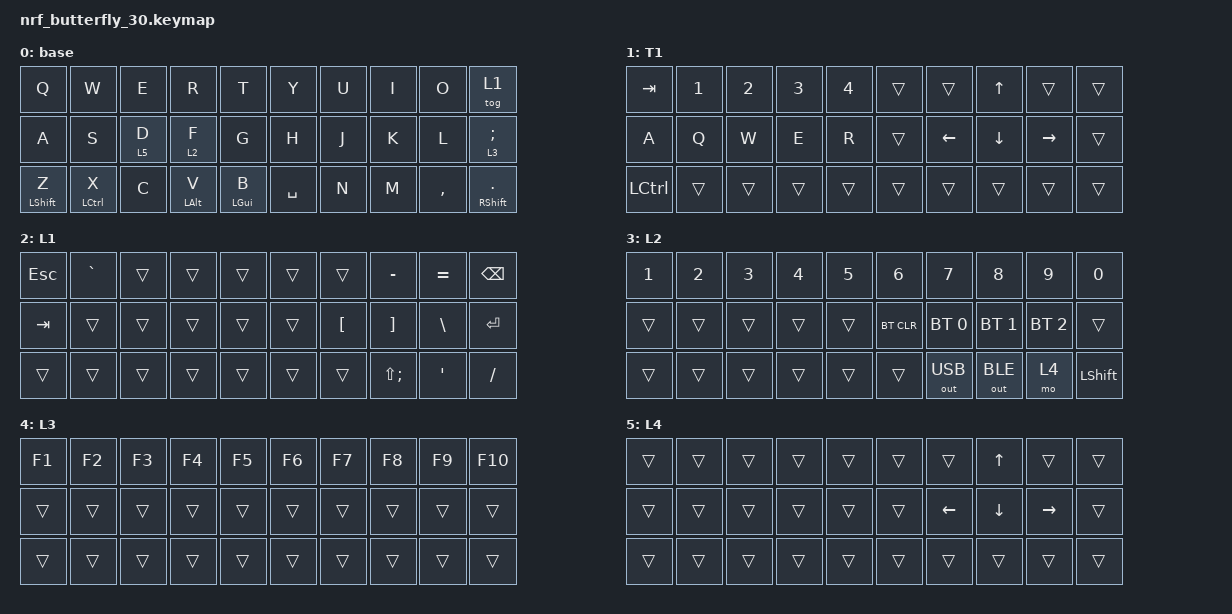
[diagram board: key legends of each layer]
// GENERATED FILE -- edit layout.txt and run generate-keymap.py instead.
#include <behaviors.dtsi>
#include <dt-bindings/zmk/keys.h>
#include <dt-bindings/zmk/bt.h>
#include <dt-bindings/zmk/outputs.h>

/ {
    behaviors {
        // Tap = base key, hold = momentary-activate a layer. "tap-preferred"
        // flavor: an interrupting key press only resolves to the layer if
        // the hold-tap key is still held past the tapping term; fast rolls
        // (e.g. "to", "ti") resolve as taps instead of misfiring into the
        // layer. Drives every "<base>L<n>" combo token.
        hold_layer: hold_layer {
            compatible = "zmk,behavior-hold-tap";
            #binding-cells = <2>;
            flavor = "tap-preferred";
            tapping-term-ms = <300>;
            bindings = <&mo>, <&kp>;
            display-name = "Hold Layer";
        };

        // Tap = base key, hold = toggle a layer on/off. Same tap-preferred
        // timing as hold_layer. Drives every "<base>T<n>" combo token.
        hold_toggle: hold_toggle {
            compatible = "zmk,behavior-hold-tap";
            #binding-cells = <2>;
            flavor = "tap-preferred";
            tapping-term-ms = <300>;
            bindings = <&tog>, <&kp>;
            display-name = "Hold Toggle Layer";
        };

        // Tap = base key, hold = a different key (used for modifiers, e.g.
        // Z taps 'z' but held acts as left shift). Drives every "<base>K<n>"
        // combo token, where K<n> is defined by a "K<n> = <token>" alias
        // line in layout.txt.
        //
        // "balanced" + hold-trigger-on-release: if another key is pressed
        // AND released while this key is still held, that resolves to hold
        // as soon as the other key releases -- no waiting out the tapping
        // term -- so holding B and tapping C for Cmd+C feels like a real
        // chord instead of a laggy timeout. require-prior-idle-ms keeps
        // ordinary fast typing safe: if this key is pressed within 150ms of
        // any other keypress, it resolves as a tap immediately, no hold
        // ever considered. retro-tap is deliberately NOT set: holding a
        // modifier alone and releasing it with nothing else pressed must
        // keep producing no output, same as holding a real shift key.
        hold_mod: hold_mod {
            compatible = "zmk,behavior-hold-tap";
            #binding-cells = <2>;
            flavor = "balanced";
            tapping-term-ms = <200>;
            require-prior-idle-ms = <150>;
            hold-trigger-on-release;
            bindings = <&kp>, <&kp>;
            display-name = "Hold Mod";
        };
    };

    keymap {
        compatible = "zmk,keymap";

        base {
            bindings = <
&kp Q &kp W &kp E &kp R &kp T &kp Y &kp U &kp I &kp O &tog 1
&kp A &kp S &hold_layer 5 D &hold_layer 2 F &kp G &kp H &kp J &kp K &kp L &hold_layer 3 SEMI
&hold_mod LSHFT Z &hold_mod LCTRL X &kp C &hold_mod LALT V &hold_mod LGUI B &kp SPACE &kp N &kp M &kp COMMA &hold_mod RSHFT DOT
            >;
        };

        T1 {
            bindings = <
&kp TAB &kp N1 &kp N2 &kp N3 &kp N4 &trans &trans &kp UP &trans &trans
&kp A &kp Q &kp W &kp E &kp R &trans &kp LEFT &kp DOWN &kp RIGHT &trans
&kp LCTRL &trans &trans &trans &trans &trans &trans &trans &trans &trans
            >;
        };

        L1 {
            bindings = <
&kp ESC &kp GRAVE &trans &trans &trans &trans &trans &kp MINUS &kp EQUAL &kp BSPC
&kp TAB &trans &trans &trans &trans &trans &kp LBKT &kp RBKT &kp BSLH &kp ENTER
&trans &trans &trans &trans &trans &trans &trans &kp LS(SEMI) &kp SQT &kp FSLH
            >;
        };

        L2 {
            bindings = <
&kp N1 &kp N2 &kp N3 &kp N4 &kp N5 &kp N6 &kp N7 &kp N8 &kp N9 &kp N0
&trans &trans &trans &trans &trans &bt BT_CLR &bt BT_SEL 0 &bt BT_SEL 1 &bt BT_SEL 2 &trans
&trans &trans &trans &trans &trans &trans &out OUT_USB &out OUT_BLE &mo 4 &kp LSHFT
            >;
        };

        L3 {
            bindings = <
&kp F1 &kp F2 &kp F3 &kp F4 &kp F5 &kp F6 &kp F7 &kp F8 &kp F9 &kp F10
&trans &trans &trans &trans &trans &trans &trans &trans &trans &trans
&trans &trans &trans &trans &trans &trans &trans &trans &trans &trans
            >;
        };

        L4 {
            bindings = <
&trans &trans &trans &trans &trans &trans &trans &kp UP &trans &trans
&trans &trans &trans &trans &trans &trans &kp LEFT &kp DOWN &kp RIGHT &trans
&trans &trans &trans &trans &trans &trans &trans &trans &trans &trans
            >;
        };
    };
};
